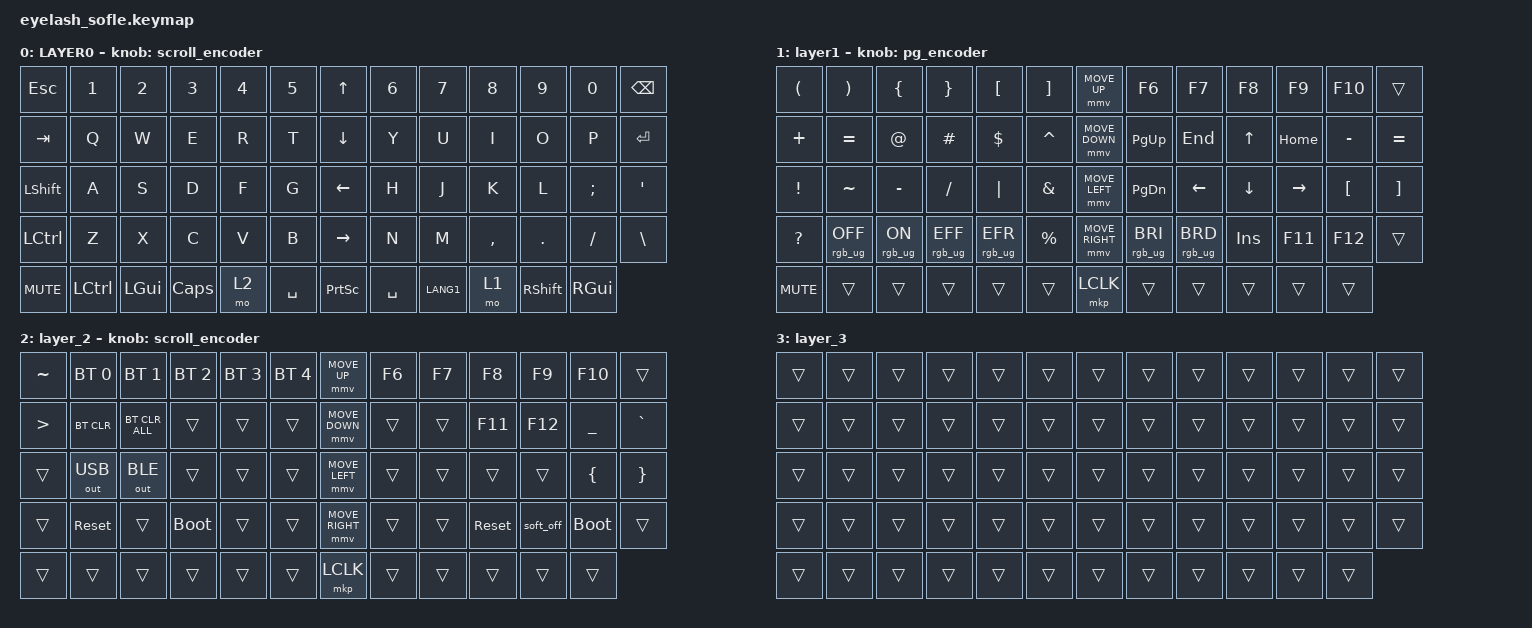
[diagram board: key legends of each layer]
#define ZMK_POINTING_DEFAULT_MOVE_VAL 1200  // 600
#define ZMK_POINTING_DEFAULT_SCRL_VAL 35    // 10

#include <input/processors.dtsi>
#include <zephyr/dt-bindings/input/input-event-codes.h>
#include <behaviors.dtsi>
#include <dt-bindings/zmk/bt.h>
#include <dt-bindings/zmk/keys.h>
#include <dt-bindings/zmk/outputs.h>
#include <dt-bindings/zmk/pointing.h>
#include <dt-bindings/zmk/rgb.h>

/ {
    zip_scroll_scaler: zip_scroll_scaler {
        compatible = "zmk,input-processor-scaler";
        #input-processor-cells = <2>;
        type = <INPUT_EV_REL>;
        codes = <INPUT_REL_WHEEL INPUT_REL_HWHEEL>;
        track-remainders;
    };
};

&mmv_input_listener { input-processors = <&zip_xy_scaler 2 1>; };

&msc_input_listener { input-processors = <&zip_scroll_scaler 2 1>; };

&msc {
    acceleration-exponent = <0>;      // 0
    time-to-max-speed-ms = <0>;       // 300
    delay-ms = <0>;                   // 0
};

&mmv {
    time-to-max-speed-ms = <400>;
    acceleration-exponent = <1>;
};

/ {
    scroll_encoder: scroll_encoder {
        compatible = "zmk,behavior-sensor-rotate";
        #sensor-binding-cells = <0>;
        bindings = <&msc SCRL_DOWN>, <&msc SCRL_UP>;

        tap-ms = <20>;
    };

    pg_encoder: pg_encoder {
        compatible = "zmk,behavior-sensor-rotate";
        #sensor-binding-cells = <0>;
        bindings = <&kp PG_DN>, <&kp PG_UP>;

        // Layer 2에서는 페이지 업/다운

        tap-ms = <20>;
    };

    combos {
        compatible = "zmk,combos";

        f5 {
            bindings = <&kp F5>;
            key-positions = <1 2>;
        };
    };

    behaviors {
    };

    keymap {
        compatible = "zmk,keymap";

        layer0 {
            bindings = <
&kp ESC           &kp N1     &kp N2        &kp N3        &kp N4  &kp N5       &kp UP_ARROW     &kp N6     &kp N7     &kp N8     &kp N9           &kp N0    &kp BACKSPACE
&kp TAB           &kp Q      &kp W         &kp E         &kp R   &kp T        &kp DOWN_ARROW   &kp Y      &kp U      &kp I      &kp O            &kp P     &kp ENTER
&kp LEFT_SHIFT    &kp A      &kp S         &kp D         &kp F   &kp G        &kp LEFT_ARROW   &kp H      &kp J      &kp K      &kp L            &kp SEMI  &kp APOS
&kp LEFT_CONTROL  &kp Z      &kp X         &kp C         &kp V   &kp B        &kp RIGHT_ARROW  &kp N      &kp M      &kp COMMA  &kp DOT          &kp FSLH  &kp BACKSLASH
&kp C_MUTE        &kp LCTRL  &kp LEFT_GUI  &kp CAPSLOCK  &mo 2   &kp SPACE    &kp PRINTSCREEN  &kp SPACE  &kp LANG1  &mo 1      &kp RIGHT_SHIFT  &kp RGUI
            >;

            sensor-bindings = <&scroll_encoder>;
            display-name = "LAYER0";
        };

        layer_1 {
            bindings = <
&kp LEFT_PARENTHESIS  &kp RIGHT_PARENTHESIS  &kp LEFT_BRACE  &kp RIGHT_BRACE  &kp LEFT_BRACKET  &kp RIGHT_BRACKET    &mmv MOVE_UP     &kp F6           &kp F7           &kp F8      &kp F9     &kp F10           &trans
&kp PLUS              &kp EQUAL              &kp AT_SIGN     &kp HASH         &kp DOLLAR        &kp CARET            &mmv MOVE_DOWN   &kp PG_UP        &kp END          &kp UP      &kp HOME   &kp MINUS         &kp EQUAL
&kp EXCLAMATION       &kp TILDE              &kp MINUS       &kp SLASH        &kp PIPE          &kp AMPERSAND        &mmv MOVE_LEFT   &kp PG_DN        &kp LEFT         &kp DOWN    &kp RIGHT  &kp LEFT_BRACKET  &kp RIGHT_BRACKET
&kp QUESTION          &rgb_ug RGB_OFF        &rgb_ug RGB_ON  &rgb_ug RGB_EFF  &rgb_ug RGB_EFR   &kp PERCENT          &mmv MOVE_RIGHT  &rgb_ug RGB_BRI  &rgb_ug RGB_BRD  &kp INSERT  &kp F11    &kp F12           &trans
&kp C_MUTE            &trans                 &trans          &trans           &trans            &trans               &mkp LCLK        &trans           &trans           &trans      &trans     &trans
            >;

            display-name = "layer1";
            sensor-bindings = <&pg_encoder>;
        };

        layer_2 {
            bindings = <
&kp TILDE  &bt BT_SEL 0  &bt BT_SEL 1    &bt BT_SEL 2  &bt BT_SEL 3  &bt BT_SEL 4    &mmv MOVE_UP     &kp F6  &kp F7  &kp F8      &kp F9     &kp F10      &trans
&kp GT     &bt BT_CLR    &bt BT_CLR_ALL  &trans        &trans        &trans          &mmv MOVE_DOWN   &trans  &trans  &kp F11     &kp F12    &kp UNDER    &kp GRAVE
&trans     &out OUT_USB  &out OUT_BLE    &trans        &trans        &trans          &mmv MOVE_LEFT   &trans  &trans  &trans      &trans     &kp LBRC     &kp RBRC
&trans     &sys_reset    &trans          &bootloader   &trans        &trans          &mmv MOVE_RIGHT  &trans  &trans  &sys_reset  &soft_off  &bootloader  &trans
&trans     &trans        &trans          &trans        &trans        &trans          &mkp LCLK        &trans  &trans  &trans      &trans     &trans
            >;

            sensor-bindings = <&scroll_encoder>;
        };

        layer_3 {
            bindings = <
&trans  &trans  &trans  &trans  &trans  &trans    &trans  &trans  &trans  &trans  &trans  &trans  &trans
&trans  &trans  &trans  &trans  &trans  &trans    &trans  &trans  &trans  &trans  &trans  &trans  &trans
&trans  &trans  &trans  &trans  &trans  &trans    &trans  &trans  &trans  &trans  &trans  &trans  &trans
&trans  &trans  &trans  &trans  &trans  &trans    &trans  &trans  &trans  &trans  &trans  &trans  &trans
&trans  &trans  &trans  &trans  &trans  &trans    &trans  &trans  &trans  &trans  &trans  &trans
            >;
        };
    };
};
